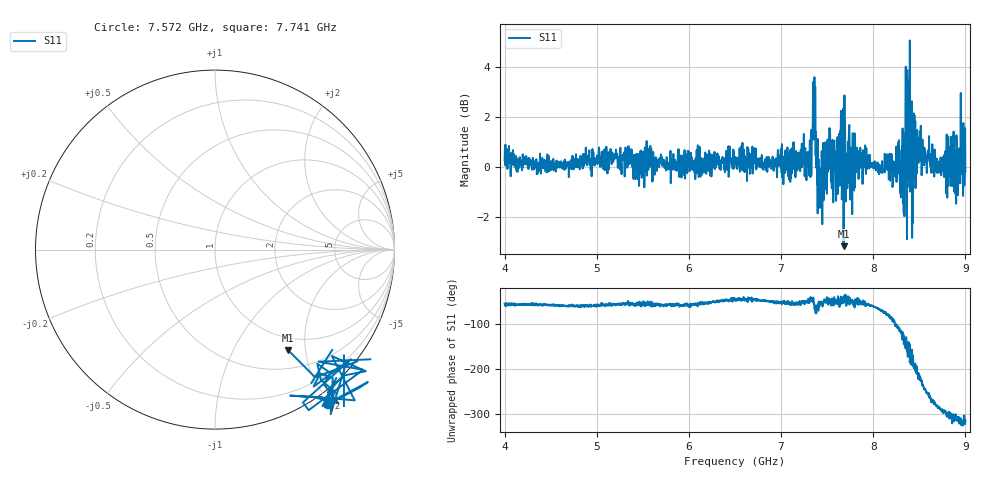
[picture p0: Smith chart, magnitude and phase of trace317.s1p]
! Created with skrf 1.8.0 (http://scikit-rf.org).
# Hz S RI R 50.0
!freq ReS11 ImS11
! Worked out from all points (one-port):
!   1601 points, 4 GHz to 9 GHz, reference 50 ohm
!   lowest |S11| = -3.2 dB at 7.678 GHz (marker M1), VSWR 5.51, Z = 39.1 - j84.3 ohm
!   |S11| at or under -10 dB: nowhere
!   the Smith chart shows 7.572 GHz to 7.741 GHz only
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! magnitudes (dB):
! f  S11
! 4 GHz  0.3
! 4.625 GHz  -0.1
! 5.25 GHz  -0.1
! 5.875 GHz  0.0
! 6.5 GHz  0.3
! 7.125 GHz  0.5
! 7.294 GHz  0.4
! 7.319 GHz  -0.4
! 7.347 GHz  3.4
! 7.369 GHz  3.2
! 7.4 GHz  1.1
! 7.428 GHz  -0.1
! 7.509 GHz  -0.2
! 7.591 GHz  0.3
! 7.65 GHz  2.2
! 7.678 GHz  -3.2
! 7.75 GHz  -1.3
! 8.262 GHz  -0.2
! 8.312 GHz  0.8
! 8.375 GHz  -0.1
! 8.394 GHz  -0.8
! 8.406 GHz  1.2
! 8.447 GHz  2.1
! 8.459 GHz  -0.9
! 8.681 GHz  0.0
! 8.9 GHz  -1.5
! 8.956 GHz  0.5
! 9 GHz  -0.2
